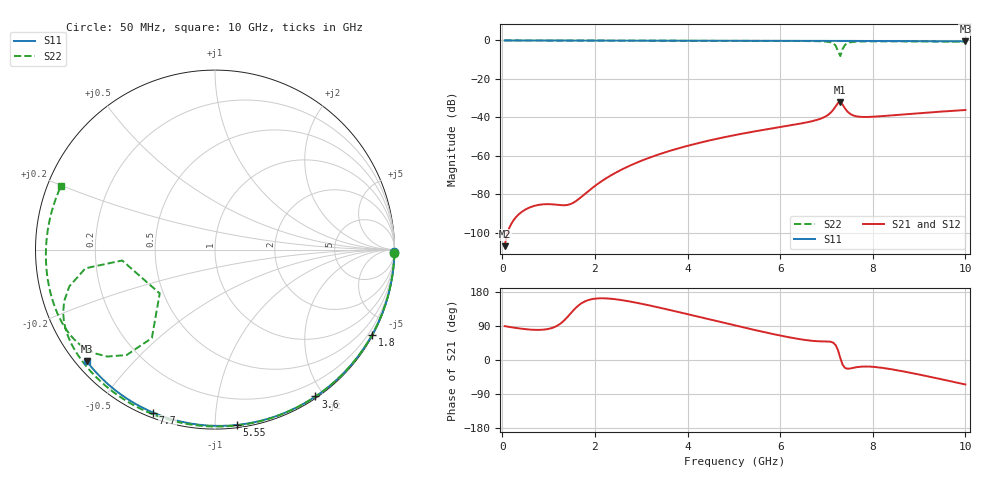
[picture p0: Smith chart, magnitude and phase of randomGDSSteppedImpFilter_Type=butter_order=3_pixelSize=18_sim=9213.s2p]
! freq	dB(S11)	phase(S11)	dB(S12)	phase(S12)
!  dB(S21)	phase(S21)	dB(S22)	phase(S22)
!S-par simulation data
#  GHz  S  DB  R 50
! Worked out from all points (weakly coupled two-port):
!   200 points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, 50 MHz to 10 GHz, reference 50 ohm
!   highest |S21| = -32.08 dB at 7.3 GHz (marker M1); lowest = -107.0 dB at 50 MHz (marker M2)
!   lowest |S11| = -0.5 dB at 10 GHz (marker M3), VSWR 37.05, Z = 1.54 - j18.8 ohm
!   |S11| at or under -10 dB: nowhere
!   |S22| runs from -8.1 to 0.0 dB; largest |S21 - S12| = 0
!   S11 on the Smith chart (normalised r, x): 50 MHz: open; 1.8 GHz: 0.03, -3.94; 3.6 GHz: 0.02, -1.90; 5.55 GHz: 0.02, -1.13; 7.7 GHz: 0.02, -0.69; 10 GHz: 0.03, -0.38
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0.05  -0.00 -0.8  -107.03 89.4  -107.03 89.4  -0.00 -1.2
0.85  -0.02 -13.6  -85.32 79.7  -85.32 79.7  -0.03 -19.7
1.75  -0.04 -27.7  -80.56 152.6  -80.56 152.6  -0.05 -40.1
1.8  -0.04 -28.5  -79.55 155.5  -79.55 155.5  -0.05 -41.2
2.5  -0.05 -39.2  -68.14 159.4  -68.14 159.4  -0.07 -56.6
3.4  -0.07 -52.7  -59.12 138.0  -59.12 138.0  -0.10 -75.7
3.6  -0.07 -55.6  -57.58 132.4  -57.58 132.4  -0.11 -79.8
5.05  -0.12 -76.2  -49.10 90.5  -49.10 90.5  -0.17 -108.9
5.55  -0.14 -83.0  -46.89 76.5  -46.89 76.5  -0.20 -118.8
6.7  -0.19 -98.1  -41.94 50.5  -41.94 50.5  -0.34 -143.7
7  -0.21 -101.9  -39.27 48.9  -39.27 48.9  -0.61 -154.6
7.15  -0.22 -103.8  -35.98 45.3  -35.98 45.3  -1.55 -165.9
7.2  -0.22 -104.5  -34.24 39.2  -34.24 39.2  -2.74 -171.8
7.25  -0.22 -105.1  -32.53 25.7  -32.53 25.7  -5.67 -173.3
7.3  -0.23 -105.7  -32.08 4.8  -32.08 4.8  -8.11 -141.6
7.35  -0.23 -106.3  -33.46 -12.6  -33.46 -12.6  -4.36 -125.5
7.4  -0.23 -107.0  -35.35 -20.8  -35.35 -20.8  -2.31 -130.0
7.5  -0.24 -108.3  -37.99 -22.7  -37.99 -22.7  -1.05 -139.3
7.7  -0.25 -110.8  -39.67 -18.1  -39.67 -18.1  -0.58 -149.3
8.35  -0.30 -118.8  -39.09 -23.4  -39.09 -23.4  -0.47 -166.3
9.15  -0.38 -128.6  -37.58 -42.2  -37.58 -42.2  -0.54 176.4
10  -0.47 -138.9  -36.19 -64.6  -36.19 -64.6  -0.65 157.7
